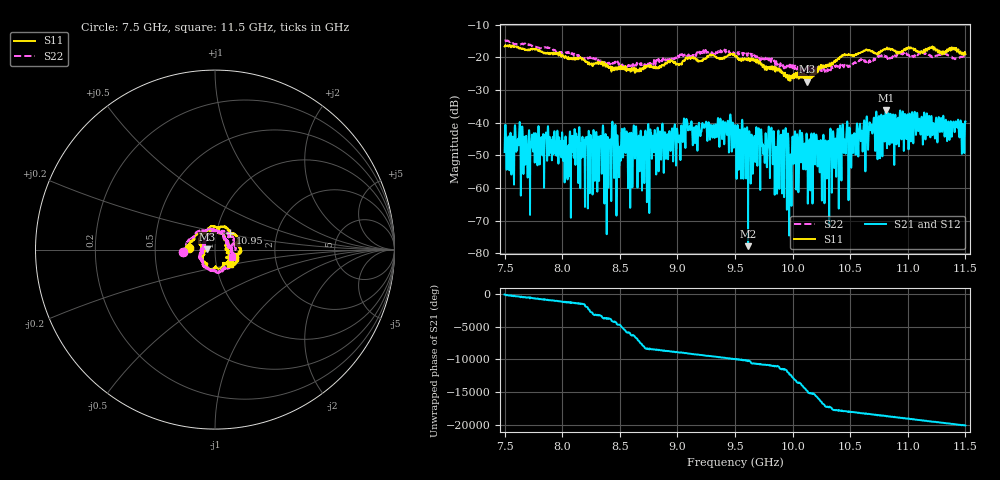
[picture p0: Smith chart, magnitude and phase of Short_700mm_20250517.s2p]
#  HZ  S  DB  R  50.00
! Rohde & Schwarz ZVA40 2Ports - Version 4.11 - 1145.1110k40 SN: 100216
! Date: 2025-05-18 21:09:03
! Measurements: S11 S21 S12 S22
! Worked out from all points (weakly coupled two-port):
!   5001 points, 7.5 GHz to 11.5 GHz, reference 50 ohm
!   highest |S21| = -36.15 dB at 10.81 GHz (marker M1); lowest = -77.9 dB at 9.614 GHz (marker M2)
!   lowest |S11| = -27.5 dB at 10.13 GHz (marker M3), VSWR 1.09, Z = 45.9 + j0.155 ohm
!   |S11| at or under -10 dB: start of sweep to end of sweep
!   |S22| runs from -25.1 to -14.8 dB; largest |S21 - S12| = 0.00017
!   S11 on the Smith chart (normalised r, x): 7.5 GHz: 0.74, +0.01; 10.95 GHz: 1.17, +0.22; 11.5 GHz: 1.16, -0.19
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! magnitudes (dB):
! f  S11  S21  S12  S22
! 7.5 GHz  -16.7  -49.0  -49.0  -14.8
! 8.167 GHz  -20.3  -50.7  -50.6  -20.0
! 8.342 GHz  -21.4  -52.0  -52.1  -21.5
! 8.382 GHz  -22.1  -48.4  -48.3  -21.8
! 8.449 GHz  -23.9  -53.8  -53.8  -21.6
! 8.49 GHz  -22.9  -51.1  -51.2  -22.2
! 8.53 GHz  -22.8  -49.3  -49.2  -22.7
! 8.591 GHz  -24.2  -60.0  -59.9  -22.5
! 8.632 GHz  -24.7  -50.8  -50.8  -21.7
! 8.834 GHz  -23.3  -45.7  -45.8  -20.7
! 9.094 GHz  -20.0  -41.9  -41.9  -19.2
! 9.5 GHz  -19.7  -40.7  -40.7  -18.6
! 9.614 GHz  -20.7  -77.9  -78.8  -18.7
! 9.948 GHz  -25.7  -50.4  -50.3  -22.7
! 9.988 GHz  -25.8  -57.3  -57.5  -21.8
! 10.01 GHz  -25.4  -50.1  -50.1  -22.2
! 10.13 GHz  -27.5  -47.6  -47.6  -24.1
! 10.17 GHz  -25.9  -45.7  -45.6  -23.9
! 10.81 GHz  -17.6  -36.1  -36.1  -19.7
! 10.83 GHz  -17.3  -37.4  -37.4  -19.7
! 10.95 GHz  -18.0  -42.6  -42.6  -18.7
! 11.5 GHz  -19.0  -39.6  -39.6  -19.7
